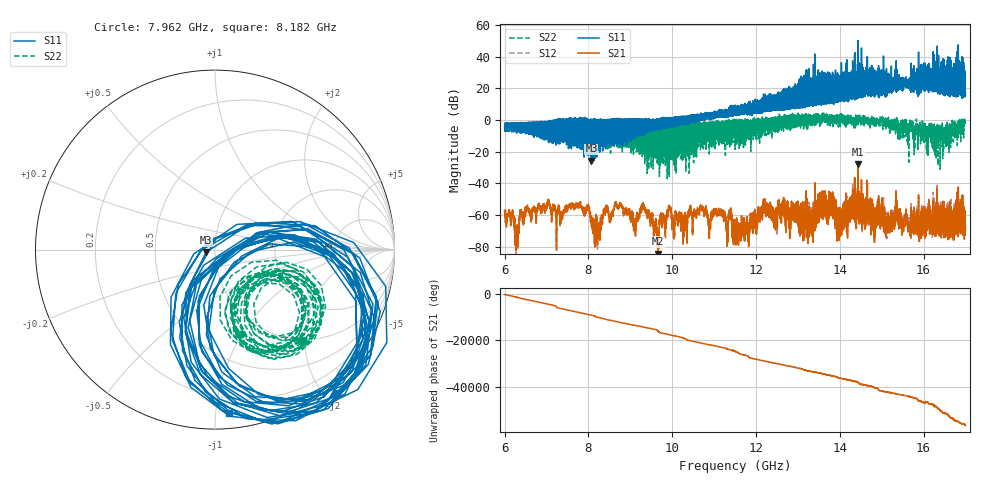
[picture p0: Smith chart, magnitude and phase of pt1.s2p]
#  HZ  S  RI  R  50.00
! Rohde & Schwarz Vector Network Analyzer
! Rohde-Schwarz,ZNA67-2Port,1332450062101215,3.01
! Created: UTC 10/26/2026, 3:44:57 PM
! freq[Hz]  re:S11  im:S11  re:S21  im:S21  re:S12  im:S12  re:S22  im:S22
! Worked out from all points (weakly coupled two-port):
!   11001 points, 6 GHz to 17 GHz, reference 50 ohm
!   highest |S21| = -27.67 dB at 14.44 GHz (marker M1); lowest = -84.3 dB at 9.656 GHz (marker M2)
!   lowest |S11| = -25.7 dB at 8.073 GHz (marker M3), VSWR 1.11, Z = 45.2 - j1.35 ohm
!   |S11| at or under -10 dB: 7.150944 GHz to 7.153077 GHz (2.133 MHz wide, 0.0298 % of centre); 7.558951 GHz to 7.561049 GHz (2.098 MHz wide, 0.0278 % of centre); 7.593853 GHz to 7.596085 GHz (2.232 MHz wide, 0.0294 % of centre) (the widest 3 of 202)
!   |S22| runs from -37.0 to 4.6 dB; largest |S21 - S12| = 0.013
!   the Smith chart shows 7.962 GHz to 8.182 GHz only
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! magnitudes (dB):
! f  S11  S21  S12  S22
! 6 GHz  -5.6  -57.3  -57.3  -5.2
! 6.29 GHz  -7.8  -71.2  -70.9  -4.7
! 6.539 GHz  -1.6  -56.9  -57.0  -4.1
! 7.834 GHz  1.3  -54.7  -54.4  -2.3
! 8.073 GHz  -25.7  -63.9  -63.8  -11.4
! 8.772 GHz  -13.9  -54.0  -54.1  -6.3
! 9.122 GHz  -10.5  -68.3  -68.3  -8.0
! 9.303 GHz  0.7  -54.6  -54.6  -3.3
! 9.656 GHz  -2.7  -84.3  -80.4  -4.2
! 9.667 GHz  -1.4  -78.3  -76.8  -4.7
! 9.923 GHz  0.4  -53.9  -54.0  -3.3
! 10.31 GHz  -2.5  -60.5  -60.2  -5.8
! 10.71 GHz  1.2  -55.2  -55.0  -1.5
! 11.5 GHz  3.3  -66.9  -66.7  -1.7
! 12.22 GHz  5.5  -58.5  -59.1  0.1
! 13.33 GHz  10.5  -69.9  -68.6  -0.9
! 13.59 GHz  10.2  -61.5  -62.1  3.1
! 13.97 GHz  18.8  -63.6  -63.8  1.8
! 14.44 GHz  50.3  -27.7  -26.5  0.9
! 15.17 GHz  21.3  -67.0  -68.1  -0.9
! 16.3 GHz  18.9  -70.2  -68.1  -6.6
! 17 GHz  16.9  -66.5  -69.1  0.7
